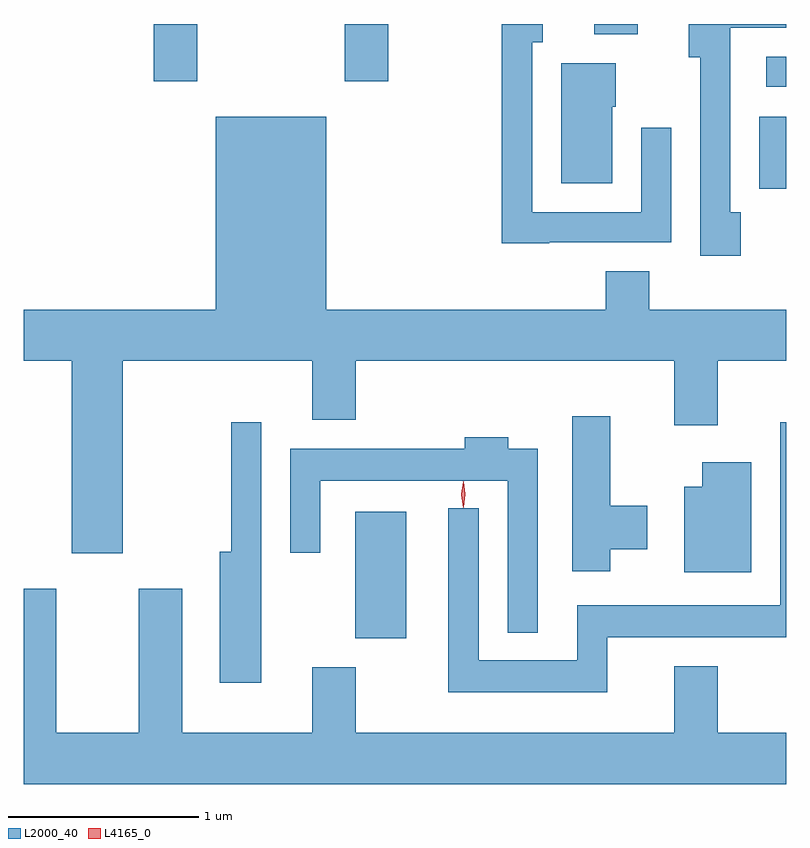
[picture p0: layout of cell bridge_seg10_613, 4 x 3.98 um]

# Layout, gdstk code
import gdstk
lib = gdstk.Library(unit=1e-6, precision=1e-09)
def R(c, l, rs):  # rectangles x0, y0, x1, y1
    for r in rs: c.add(gdstk.rectangle(r[:2], r[2:], *l))
def P(c, l, *ps):  # polygons
    for p in ps: c.add(gdstk.Polygon(p, *l))
L2000_40 = (2000, 40)
L4165_0 = (4165, 0)

bridge_seg10_613 = lib.new_cell('bridge_seg10_613')
R(bridge_seg10_613, L2000_40, [(842.786,2141.321,843.054,2141.984), (844.906,2143.676,845.048,2144.054), (844.943,2144.211,845.048,2144.369), (841.731,2144.241,841.959,2144.541), (842.731,2144.241,842.959,2144.541), (844.041,2144.486,844.269,2144.541)])
P(bridge_seg10_613, L2000_40, [(843.805,2143.396),(844.444,2143.396),(844.444,2143.998),(844.286,2143.998),(844.286,2143.554),(843.714,2143.554),(843.714,2144.446),(843.769,2144.446),(843.769,2144.541),(843.556,2144.541),(843.556,2143.391),(843.805,2143.391)],
  [(844.809,2143.554),(844.754,2143.554),(844.754,2144.521),(845.048,2144.521),(845.048,2144.541),(844.536,2144.541),(844.536,2144.366),(844.596,2144.366),(844.596,2143.326),(844.809,2143.326)],
  [(844.134,2144.106),(844.154,2144.106),(844.154,2144.334),(843.866,2144.334),(843.866,2143.706),(844.134,2143.706)],
  [(841.569,2142.776),(842.561,2142.776),(842.561,2142.466),(842.789,2142.466),(842.789,2142.776),(844.461,2142.776),(844.461,2142.436),(844.689,2142.436),(844.689,2142.776),(845.048,2142.776),(845.048,2143.044),(844.329,2143.044),(844.329,2143.244),(844.101,2143.244),(844.101,2143.044),(842.634,2143.044),(842.634,2144.054),(842.056,2144.054),(842.056,2143.044),(841.048,2143.044),(841.048,2142.776),(841.301,2142.776),(841.301,2141.766),(841.569,2141.766)],
  [(844.124,2141.786),(844.319,2141.786),(844.319,2142.014),(844.124,2142.014),(844.124,2142.484),(843.926,2142.484),(843.926,2141.671),(844.124,2141.671)],
  [(842.294,2142.453),(842.136,2142.453),(842.136,2141.774),(842.076,2141.774),(842.076,2141.086),(842.294,2141.086)],
  [(844.109,2141.326),(845.048,2141.326),(845.048,2142.453),(845.016,2142.453),(845.016,2141.494),(843.951,2141.494),(843.951,2141.204),(843.434,2141.204),(843.434,2142.003),(843.276,2142.003),(843.276,2141.036),(844.109,2141.036)],
  [(843.744,2142.314),(843.589,2142.314),(843.589,2142.374),(843.361,2142.374),(843.361,2142.314),(842.446,2142.314),(842.446,2141.768),(842.604,2141.768),(842.604,2142.146),(843.586,2142.146),(843.586,2141.348),(843.744,2141.348)],
  [(844.864,2142.244),(844.606,2142.244),(844.606,2142.114),(844.511,2142.114),(844.511,2141.666),(844.864,2141.666)],
  [(845.048,2140.824),(844.689,2140.824),(844.689,2141.174),(844.461,2141.174),(844.461,2140.824),(842.789,2140.824),(842.789,2141.169),(842.561,2141.169),(842.561,2140.824),(841.879,2140.824),(841.879,2141.579),(841.651,2141.579),(841.651,2140.824),(841.219,2140.824),(841.219,2141.579),(841.048,2141.579),(841.048,2140.556),(845.048,2140.556)])
P(bridge_seg10_613, L4165_0, [(843.353,2142.004),(843.353,2142.004),(843.343,2142.073),(843.353,2142.142),(843.353,2142.143),(843.354,2142.142),(843.363,2142.073),(843.354,2142.004)],
  [(843.354,2142.007),(843.354,2142.008),(843.344,2142.074),(843.354,2142.14),(843.354,2142.14),(843.355,2142.14),(843.364,2142.074),(843.355,2142.008)])

lib.write_gds('bridge_seg10_613.gds')
